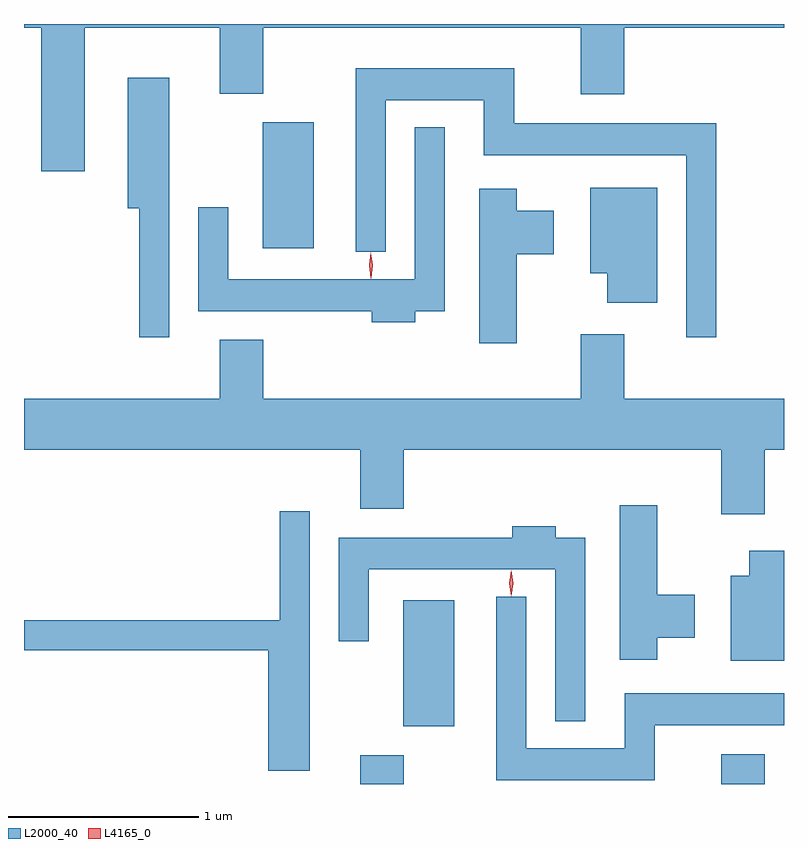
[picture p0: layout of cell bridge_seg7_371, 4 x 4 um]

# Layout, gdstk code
import gdstk
lib = gdstk.Library(unit=1e-6, precision=1e-09)
def R(c, l, rs):  # rectangles x0, y0, x1, y1
    for r in rs: c.add(gdstk.rectangle(r[:2], r[2:], *l))
def P(c, l, *ps):  # polygons
    for p in ps: c.add(gdstk.Polygon(p, *l))
L2000_40 = (2000, 40)
L4165_0 = (4165, 0)

bridge_seg7_371 = lib.new_cell('bridge_seg7_371')
R(bridge_seg7_371, L2000_40, [(1069.371,1736.977,1069.599,1737.129), (1071.271,1736.977,1071.499,1737.134), (1069.596,1737.281,1069.864,1737.944), (1068.856,1739.796,1069.124,1740.459)])
P(bridge_seg7_371, L2000_40, [(1067.919,1740.956),(1068.631,1740.956),(1068.631,1740.611),(1068.859,1740.611),(1068.859,1740.956),(1070.531,1740.956),(1070.531,1740.606),(1070.759,1740.606),(1070.759,1740.956),(1071.6,1740.956),(1071.6,1740.977),(1067.6,1740.977),(1067.6,1740.956),(1067.691,1740.956),(1067.691,1740.201),(1067.919,1740.201)],
  [(1071.244,1740.454),(1070.179,1740.454),(1070.179,1740.744),(1069.346,1740.744),(1069.346,1739.778),(1069.504,1739.778),(1069.504,1740.576),(1070.021,1740.576),(1070.021,1740.286),(1071.086,1740.286),(1071.086,1739.328),(1071.244,1739.328)],
  [(1068.364,1740.694),(1068.146,1740.694),(1068.146,1740.006),(1068.206,1740.006),(1068.206,1739.328),(1068.364,1739.328)],
  [(1069.659,1739.466),(1069.814,1739.466),(1069.814,1740.433),(1069.656,1740.433),(1069.656,1739.634),(1068.674,1739.634),(1068.674,1740.013),(1068.516,1740.013),(1068.516,1739.466),(1069.431,1739.466),(1069.431,1739.406),(1069.659,1739.406)],
  [(1070.934,1740.114),(1070.581,1740.114),(1070.581,1739.666),(1070.671,1739.666),(1070.671,1739.511),(1070.934,1739.511)],
  [(1070.194,1739.766),(1070.389,1739.766),(1070.389,1739.994),(1070.194,1739.994),(1070.194,1740.109),(1069.996,1740.109),(1069.996,1739.296),(1070.194,1739.296)],
  [(1071.499,1738.736),(1071.6,1738.736),(1071.6,1739.004),(1070.759,1739.004),(1070.759,1739.344),(1070.531,1739.344),(1070.531,1739.004),(1068.859,1739.004),(1068.859,1739.314),(1068.631,1739.314),(1068.631,1739.004),(1067.6,1739.004),(1067.6,1738.736),(1069.371,1738.736),(1069.371,1738.426),(1069.599,1738.426),(1069.599,1738.736),(1071.271,1738.736),(1071.271,1738.396),(1071.499,1738.396)],
  [(1070.934,1737.746),(1071.129,1737.746),(1071.129,1737.974),(1070.934,1737.974),(1070.934,1738.444),(1070.736,1738.444),(1070.736,1737.631),(1070.934,1737.631)],
  [(1069.104,1738.413),(1068.946,1738.413),(1068.946,1737.839),(1067.6,1737.839),(1067.6,1737.681),(1068.886,1737.681),(1068.886,1737.046),(1069.104,1737.046)],
  [(1070.554,1738.274),(1070.399,1738.274),(1070.399,1738.334),(1070.171,1738.334),(1070.171,1738.274),(1069.256,1738.274),(1069.256,1737.728),(1069.414,1737.728),(1069.414,1738.106),(1070.396,1738.106),(1070.396,1737.308),(1070.554,1737.308)],
  [(1071.6,1738.204),(1071.416,1738.204),(1071.416,1738.074),(1071.321,1738.074),(1071.321,1737.626),(1071.6,1737.626)],
  [(1070.919,1737.286),(1071.6,1737.286),(1071.6,1737.454),(1070.761,1737.454),(1070.761,1737.164),(1070.244,1737.164),(1070.244,1737.963),(1070.086,1737.963),(1070.086,1736.996),(1070.919,1736.996)])
P(bridge_seg7_371, L4165_0, [(1070.164,1737.964),(1070.155,1738.033),(1070.164,1738.102),(1070.165,1738.103),(1070.165,1738.102),(1070.175,1738.033),(1070.165,1737.964),(1070.165,1737.964)],
  [(1069.426,1739.639),(1069.426,1739.64),(1069.416,1739.706),(1069.426,1739.772),(1069.426,1739.773),(1069.426,1739.772),(1069.436,1739.706),(1069.427,1739.64)])

lib.write_gds('bridge_seg7_371.gds')
